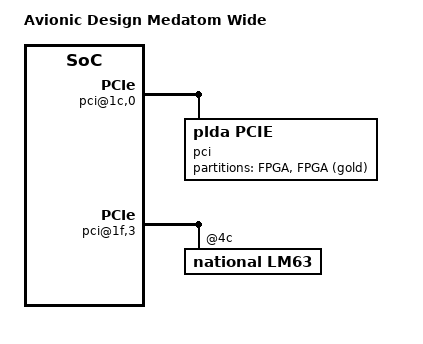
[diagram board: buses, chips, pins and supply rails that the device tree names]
/dts-v1/;
/ {
	model = "Avionic Design Medatom Wide";
	compatible = "ad,medatom-wide";

	#address-cells = <1>;
	#size-cells = <1>;

	cpus {
		#address-cells = <1>;
		#size-cells = <0>;

		cpu@0 {
			device_type = "cpu";
			compatible = "intel,atom";
			reg = <0>;
			lapic = <&lapic0>;
		};
	};

	ioapic0: interrupt-controller@fec00000 {
		compatible = "intel,ce4100-ioapic";
		reg = <0xfec00000 0x1000>;

		#interrupt-cells = <2>;
		interrupt-controller;
	};

	timer@fed00000 {
		compatible = "intel,ce4100-hpet";
		reg = <0xfed00000 0x200>;
	};

	lapic0: interrupt-controller@fee00000 {
		compatible = "intel,ce4100-lapic";
		reg = <0xfee00000 0x1000>;
	};

	pci@3fc {
		device_type = "pci";
		compatible = "pci";

		#address-cells = <3>;
		#size-cells = <2>;

		ranges = <0x20000000 0 0xbffff000 0xbffff000 0 0x1000>;
		bus-range = <0x00 0x0c>;

		pci@1c,0 {
			#address-cells = <3>;
			#size-cells = <2>;

			bus-range = <0x01 0x0a>;
			device_type = "pci";
			reg = <0x00e000 0x0 0x0 0x0 0x0>;

			pci@0,0 {
				#address-cells = <3>;
				#size-cells = <2>;

				compatible = "plda,pcie";
				bus-range = <0x02 0x0a>;
				device_type = "pci";
				reg = <0x010000 0x0 0x0 0x0 0x0>;

				pci@0,0 {
					compatible = "ad,pcie";
					bus-range = <0x03 0x03>;
					device_type = "pci";
					reg = <0x020000 0x0 0x0 0x0 0x0>;

					#address-cells = <3>;
					#size-cells = <2>;

					pci@0,0 {
						compatible = "ad,pcietest";
						reg = <0x030000 0x0 0x0 0x0 0x0>;
					};
				};

				pci@1,0 {
					compatible = "ad,pcie";
					bus-range = <0x04 0x04>;
					device_type = "pci";
					reg = <0x020800 0x0 0x0 0x0 0x0>;

					#address-cells = <3>;
					#size-cells = <2>;

					pci@0,0 {
						compatible = "opencores,spi";
						reg = <0x040000 0x0 0x0 0x0 0x0>;

						#address-cells = <1>;
						#size-cells = <0>;

						clock-frequency = <99000000>;

						m25p80@0 {
							compatible = "m25p80";
							reg = <0>;

							spi-max-frequency = <25000000>;

							#address-cells = <1>;
							#size-cells = <1>;

							partition@0 {
								reg = <0x00000000 0x00400000>;
								label = "FPGA";
							};

							partition@400000 {
								reg = <0x00400000 0x00400000>;
								label = "FPGA (gold)";
								read-only;
							};
						};
					};
				};

				pci@2,0 {
					compatible = "ad,pcie";
					bus-range = <0x05 0x05>;
					device_type = "pci";
					reg = <0x021000 0x00000000 0x00000000 0x00 0x00>;

					#address-cells = <3>;
					#size-cells = <2>;

					gpio: pci@0,0 {
						compatible = "ad,gpio-ad64p";
						reg = <0x050000 0x0 0x0 0x0 0x0>;

						gpio-controller;
						#gpio-cells = <2>;

						interrupt-controller;
						#interrupt-cells = <2>;
					};
				};

				pci@3,0 {
					compatible = "ad,pcie";
					bus-range = <0x06 0x06>;
					device_type = "pci";
					reg = <0x021800 0x0 0x0 0x0 0x0>;

					#address-cells = <3>;
					#size-cells = <2>;

					pci@0,0 {
						compatible = "opencores,uart";
						reg = <0x060000 0x0 0x0 0x0 0x0>;
					};
				};

				pci@4,0 {
					compatible = "ad,pcie";
					bus-range = <0x07 0x07>;
					device_type = "pci";
					reg = <0x022000 0x0 0x0 0x0 0x0>;

					#address-cells = <3>;
					#size-cells = <2>;

					pci@0,0 {
						compatible = "opencores,uart";
						reg = <0x070000 0x0 0x0 0x0 0x0>;
					};
				};

				pci@5,0 {
					compatible = "ad,pcie";
					bus-range = <0x08 0x08>;
					device_type = "pci";
					reg = <0x022800 0x0 0x0 0x0 0x0>;

					#address-cells = <3>;
					#size-cells = <2>;

					pci@0,0 {
						compatible = "opencores,i2c-ocores";
						reg = <0x080000 0x0 0x0 0x0 0x0>;

						clock-frequency = <99000000>;
						reg-io-width = <4>;
						reg-shift = <3>;

						#address-cells = <1>;
						#size-cells = <0>;

						keypad1: sx8634@2b {
							compatible = "sx,sx8634";
							reg = <0x2b>;

							interrupt-parent = <&gpio>;
							interrupts = <5 0x8>;

							#address-cells = <1>;
							#size-cells = <0>;

							power-gpios = <&gpio 7 0>;
							threshold = <0x40>;
							sensitivity = <7>;

							cap@1 {
								reg = <1>;
								label = "Information";
								linux,code = <358>; /* KEY_INFO */
							};

							cap@2 {
								reg = <2>;
								label = "Emergency";
								linux,code = <138>; /* KEY_HELP */
							};

							cap@3 {
								reg = <3>;
								label = "Service";
								linux,code = <152>; /* KEY_COFFEE */
							};

							cap@4 {
								reg = <4>;
								label = "Light";
								linux,code = <240>; /* KEY_UNKNOWN */
							};

							cap@5 {
								reg = <5>;
								label = "Brightness Down";
								linux,code = <224>; /* KEY_BRIGHTNESSDOWN */
							};

							cap@6 {
								reg = <6>;
								label = "Brightness Up";
								linux,code = <225>; /* KEY_BRIGHTNESSUP */
							};
						};

						keypad2: sx8634@2c {
							compatible = "sx,sx8634";
							reg = <0x2c>;

							interrupt-parent = <&gpio>;
							interrupts = <6 0x8>;

							#address-cells = <1>;
							#size-cells = <0>;

							power-gpios = <&gpio 8 0>;
							threshold = <0x40>;
							sensitivity = <7>;

							cap@1 {
								reg = <1>;
								label = "Display On/Off";
								linux,code = <245>; /* KEY_DISPLAY_OFF */
							};

							cap@2 {
								reg = <2>;
								label = "Down";
								linux,code = <108>; /* KEY_DOWN */
							};

							cap@3 {
								reg = <3>;
								label = "Up";
								linux,code = <103>; /* KEY_UP */
							};

							cap@4 {
								reg = <4>;
								label = "Mute";
								linux,code = <113>; /* KEY_MUTE */
							};

							cap@5 {
								reg = <5>;
								label = "Volume Up";
								linux,code = <115>; /* KEY_VOLUMEUP */
							};

							cap@6 {
								reg = <6>;
								label = "Volume Down";
								linux,code = <114>; /* KEY_VOLUMEDOWN */
							};
						};

						tvp5150@5d {
							compatible = "ti,tvp5150";
							reg = <0x5d>;

							power-gpios = <&gpio 3 1>;
							reset-gpios = <&gpio 4 1>;
						};
					};
				};

				pci@6,0 {
					compatible = "ad,pcie";
					bus-range = <0x09 0x09>;
					device_type = "pci";
					reg = <0x023000 0x0 0x0 0x0 0x0>;

					#address-cells = <3>;
					#size-cells = <2>;

					pci@0,0 {
						compatible = "opencores,i2c-ocores";
						reg = <0x090000 0x0 0x0 0x0 0x0>;

						clock-frequency = <99000000>;
						reg-io-width = <4>;
						reg-shift = <3>;
					};
				};

				pci@7,0 {
					compatible = "ad,pcie";
					bus-range = <0x0a 0x0a>;
					device_type = "pci";
					reg = <0x023800 0x0 0x0 0x0 0x0>;

					#address-cells = <3>;
					#size-cells = <2>;

					pci@0,0 {
						compatible = "opencores,ethmac";
						reg = <0x0a0000 0x0 0x0 0x0 0x0>;
					};
				};
			};
		};

		pci@1f,3 {
			compatible = "intel,ich8-smbus";
			reg = <0x00fb00 0x0 0x0 0x0 0x0>;
			device_type = "pci";

			#address-cells = <1>;
			#size-cells = <0>;

			lm63@4c {
				compatible = "national,lm63";
				reg = <0x4c>;
			};
		};
	};
};
